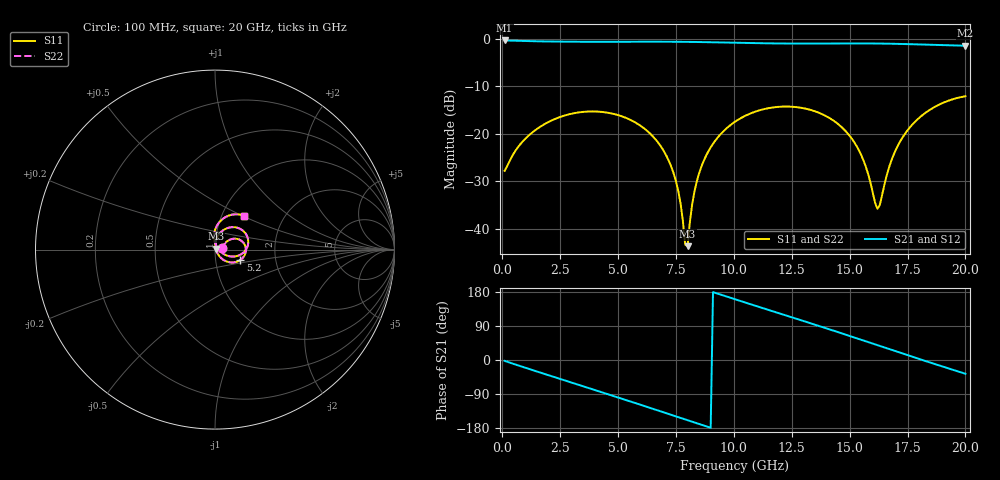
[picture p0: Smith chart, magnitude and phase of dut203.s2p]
! Touchstone file exported from HFSS 2026.1.0
!  File:  C:/ffzhzh/LocalFiles/Ansys_Project_Files/temp_train_TSV_RDL_203_1783060904_18316.aedt
!  Generated:  02:52:33 PM Jul  3, 2026
!  Design:  TSV_RDL
!  Project:  temp_train_TSV_RDL_203_1783060904_18316
! Variables:
!  h_bsmrdl = 2.82um
!  h_ox = 20um
!  h_rdl = 5um
!  h_sub = 99.51um
!  h_tmrdl = 2.26um
!  h_tsv = 99.51um
!  h_via = 3um
!  l_bsmrdl = 443.37um
!  l_sub = 5796.78um
!  l_tmrdl = 989.54um
!  m_sub = 200um
!  pitch = 30.95um
!  r_tsv = 13.54um
!  s_tmrdl = 10um
!  w_bsmrdl = 14.03um
!  w_sub = 500um
!  w_tmrdl = 22.14um
!  x_tsv_center1 = 1000.61um
!  x_tsv_center2 = 1458.01um
!  x_tsv_center3 = 2469.69um
!  x_tsv_center4 = 2927.09um
!  x_tsv_center5 = 3938.77um
!  x_tsv_center6 = 4396.17um
# GHz S MA R 50.000000
! Terminal data exported
! Port[1] = TM_RDL1_1_T1
! Port[2] = TM_RDL5_1_T1
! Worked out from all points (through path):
!   200 points, 100 MHz to 20 GHz, reference 50 ohm
!   highest |S21| = -0.35 dB at 100 MHz (marker M1); lowest = -1.5 dB at 20 GHz (marker M2)
!   group delay of S21, straight-line fit = 55 ps
!   lowest |S11| = -43.6 dB at 8 GHz (marker M3), VSWR 1.01, Z = 50.5 + j0.451 ohm
!   |S11| at or under -10 dB: start of sweep to end of sweep
!   |S22| runs from -43.5 to -12.1 dB; largest |S21 - S12| = 1.8e-14
!   S11 on the Smith chart (normalised r, x): 100 MHz: 1.08, +0.02; 5.2 GHz: 1.32, -0.16; 20 GHz: 1.27, +0.51
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0.1  0.0409 11.8  0.9603 -2.2  0.9603 -2.2  0.0409 11.8
! Gamma 0 0 0 0
! Port Impedance 50 0 50 0
1.4  0.1083 32.5  0.9412 -28.5  0.9412 -28.5  0.1083 32.6
3.5  0.1704 5.8  0.9299 -69.6  0.9299 -69.6  0.1704 5.8
5.2  0.1519 -22.7  0.9299 -102.9  0.9299 -102.9  0.1519 -22.7
6.8  0.07674 -50.0  0.9318 -134.7  0.9318 -134.7  0.07675 -49.9
7.5  0.03177 -57.1  0.9304 -148.8  0.9304 -148.8  0.03179 -56.9
7.7  0.01848 -53.3  0.9295 -152.8  0.9295 -152.8  0.01852 -52.8
7.9  0.006829 -18.1  0.9286 -156.8  0.9286 -156.8  0.006944 -17.4
8  0.006596 42.6  0.928 -158.8  0.928 -158.8  0.00672 42.0
8.2  0.01816 80.7  0.9267 -162.9  0.9267 -162.9  0.01821 80.3
8.6  0.04534 84.2  0.9236 -170.9  0.9236 -170.9  0.04536 84.1
9.2  0.08504 76.2  0.9179 177.1  0.9179 177.1  0.08505 76.1
10.1  0.1367 60.8  0.9081 159.3  0.9081 159.3  0.1367 60.7
11.8  0.1912 30.3  0.8933 126.3  0.8933 126.3  0.1912 30.3
13.4  0.1762 1.9  0.8908 95.2  0.8908 95.2  0.1761 1.9
15.2  0.08172 -25.8  0.8944 59.5  0.8944 59.5  0.08171 -25.6
15.7  0.04513 -25.7  0.8938 49.4  0.8938 49.4  0.04517 -25.3
16.2  0.0163 29.2  0.8918 39.2  0.8918 39.2  0.01665 29.7
16.7  0.04419 92.3  0.8881 29.0  0.8881 29.0  0.04444 91.8
17.2  0.08477 93.2  0.8828 18.9  0.8828 18.9  0.08497 92.9
17.9  0.1397 84.3  0.8733 4.8  0.8733 4.8  0.1399 84.1
20  0.2487 49.1  0.8452 -36.3  0.8452 -36.3  0.2489 49.0
